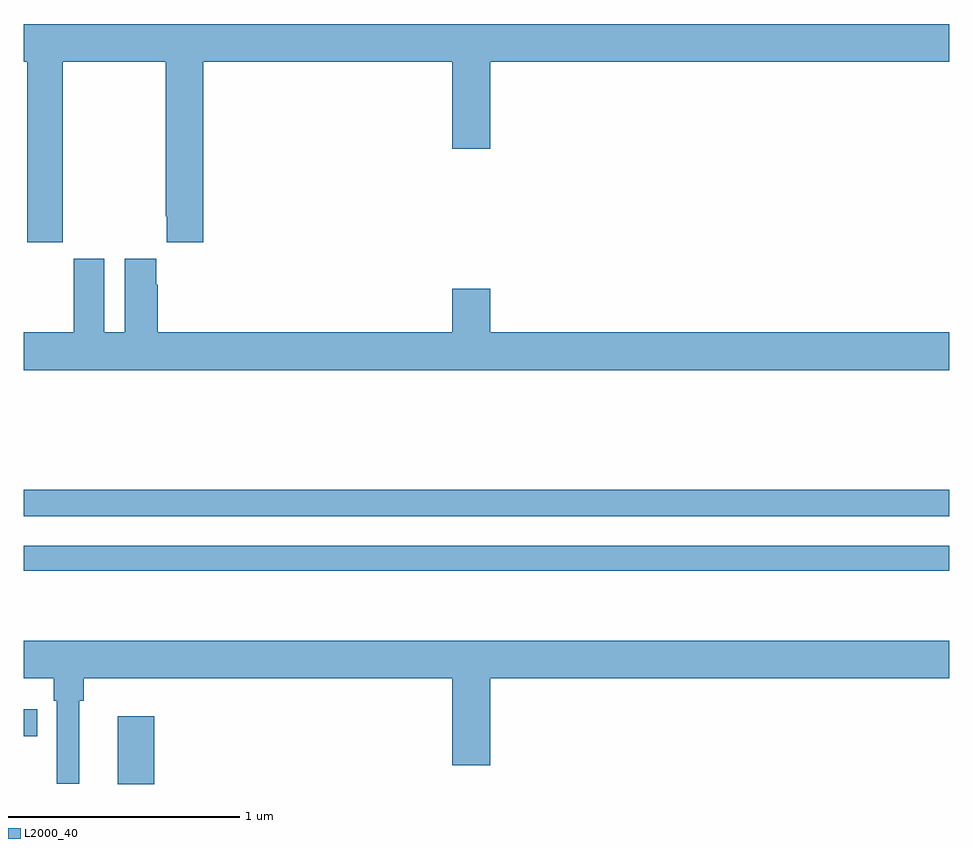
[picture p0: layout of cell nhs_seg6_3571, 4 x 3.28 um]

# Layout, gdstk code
import gdstk
lib = gdstk.Library(unit=1e-6, precision=1e-09)
def R(c, l, rs):  # rectangles x0, y0, x1, y1
    for r in rs: c.add(gdstk.rectangle(r[:2], r[2:], *l))
def P(c, l, *ps):  # polygons
    for p in ps: c.add(gdstk.Polygon(p, *l))
L2000_40 = (2000, 40)

nhs_seg6_3571 = lib.new_cell('nhs_seg6_3571')
R(nhs_seg6_3571, L2000_40, [(319.406,993.5,319.565,993.793), (319,993.706,319.058,993.822), (319,994.422,323,994.53), (319,994.656,323,994.772)])
P(nhs_seg6_3571, L2000_40, [(319.17,996.62),(319.615,996.62),(319.615,995.953),(319.619,995.953),(319.619,995.841),(319.775,995.841),(319.775,996.62),(320.852,996.62),(320.852,996.246),(321.016,996.246),(321.016,996.62),(323,996.62),(323,996.784),(319,996.784),(319,996.62),(319.015,996.62),(319.015,995.841),(319.17,995.841)],
  [(323,995.452),(321.016,995.452),(321.016,995.641),(320.852,995.641),(320.852,995.452),(319.58,995.452),(319.58,995.657),(319.573,995.657),(319.573,995.77),(319.436,995.77),(319.436,995.452),(319.348,995.452),(319.348,995.77),(319.217,995.77),(319.217,995.452),(319,995.452),(319,995.288),(323,995.288)],
  [(319.24,993.86),(319.259,993.86),(319.259,993.956),(320.852,993.956),(320.852,993.582),(321.016,993.582),(321.016,993.956),(323,993.956),(323,994.12),(319,994.12),(319,993.956),(319.13,993.956),(319.13,993.86),(319.143,993.86),(319.143,993.501),(319.24,993.501)])

lib.write_gds('nhs_seg6_3571.gds')
